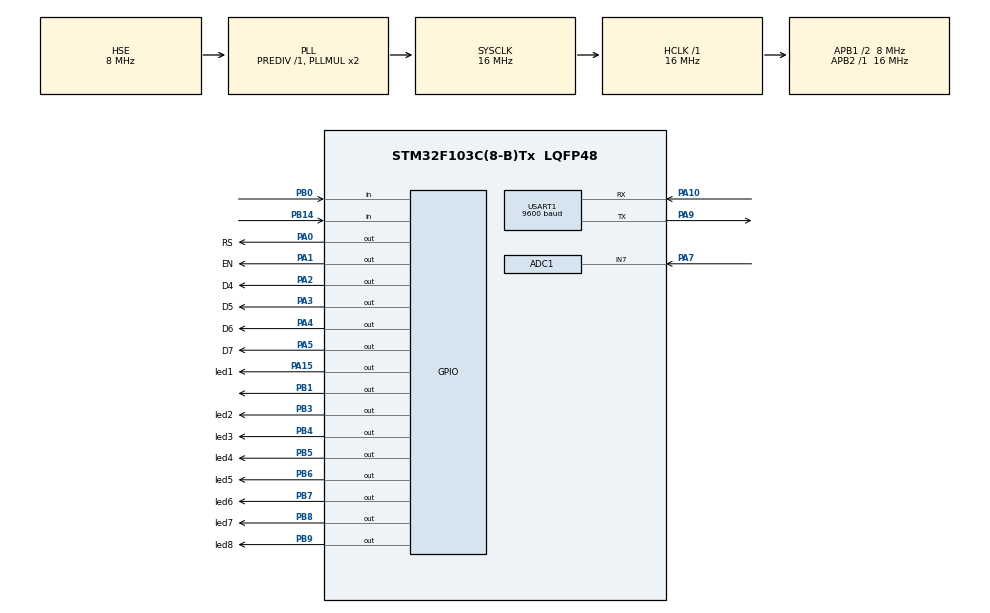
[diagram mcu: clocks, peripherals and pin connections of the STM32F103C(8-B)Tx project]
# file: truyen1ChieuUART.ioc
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ADC1.Channel-0\#ChannelRegularConversion=ADC_CHANNEL_7
ADC1.NbrOfConversionFlag=1
ADC1.Rank-0\#ChannelRegularConversion=1
ADC1.SamplingTime-0\#ChannelRegularConversion=ADC_SAMPLETIME_1CYCLE_5
ADC1.master=1
Dma.ADC1.0.Direction=DMA_PERIPH_TO_MEMORY
Dma.ADC1.0.Instance=DMA1_Channel1
Dma.ADC1.0.MemDataAlignment=DMA_MDATAALIGN_HALFWORD
Dma.ADC1.0.MemInc=DMA_MINC_ENABLE
Dma.ADC1.0.Mode=DMA_NORMAL
Dma.ADC1.0.PeriphDataAlignment=DMA_PDATAALIGN_HALFWORD
Dma.ADC1.0.PeriphInc=DMA_PINC_DISABLE
Dma.ADC1.0.Priority=DMA_PRIORITY_LOW
Dma.Request0=ADC1
FREERTOS.BinarySemaphores01=myBinarySem01,Dynamic,NULL;myBinarySem02,Dynamic,NULL
FREERTOS.Tasks01=myTask01,0,128,StartTask01,Default,NULL,Dynamic,NULL,NULL;myTask02,0,128,StartTask02,Default,NULL,Dynamic,NULL,NULL;myTask03,0,128,StartTask03,Default,NULL,Dynamic,NULL,NULL
Mcu.Family=STM32F1
Mcu.Name=STM32F103C(8-B)Tx
Mcu.Package=LQFP48
NVIC.DMA1_Channel1_IRQn=true\:5\:0\:false\:false\:true\:true\:false\:true
NVIC.PriorityGroup=NVIC_PRIORITYGROUP_4
NVIC.TIM4_IRQn=true\:0\:0\:false\:false\:true\:false\:false\:true
NVIC.TimeBase=TIM4_IRQn
NVIC.TimeBaseIP=TIM4
NVIC.USART1_IRQn=true\:5\:0\:false\:false\:true\:true\:true\:true
PA0-WKUP.GPIO_Label=RS
PA0-WKUP.Signal=GPIO_Output
PA1.GPIO_Label=EN
PA1.Signal=GPIO_Output
PA10.GPIO_Mode=GPIO_MODE_INPUT
PA10.GPIO_PuPd=GPIO_PULLUP
PA10.Mode=Asynchronous
PA10.Signal=USART1_RX
PA13.Mode=Serial_Wire
PA13.Signal=SYS_JTMS-SWDIO
PA14.Mode=Serial_Wire
PA14.Signal=SYS_JTCK-SWCLK
PA15.GPIO_Label=led1
PA15.Signal=GPIO_Output
PA2.GPIO_Label=D4
PA2.Signal=GPIO_Output
PA3.GPIO_Label=D5
PA3.Signal=GPIO_Output
PA4.GPIO_Label=D6
PA4.Signal=GPIO_Output
PA5.GPIO_Label=D7
PA5.Signal=GPIO_Output
PA7.Signal=ADCx_IN7
PA9.Mode=Asynchronous
PA9.Signal=USART1_TX
PB0.Signal=GPIO_Input
PB1.Signal=GPIO_Output
PB14.Signal=GPIO_Input
PB3.GPIO_Label=led2
PB3.Signal=GPIO_Output
PB4.GPIO_Label=led3
PB4.Signal=GPIO_Output
PB5.GPIO_Label=led4
PB5.Signal=GPIO_Output
PB6.GPIO_Label=led5
PB6.Signal=GPIO_Output
PB7.GPIO_Label=led6
PB7.Signal=GPIO_Output
PB8.GPIO_Label=led7
PB8.Signal=GPIO_Output
PB9.GPIO_Label=led8
PB9.Signal=GPIO_Output
PD0-OSC_IN.Mode=HSE-External-Oscillator
PD0-OSC_IN.Signal=RCC_OSC_IN
PD1-OSC_OUT.Mode=HSE-External-Oscillator
PD1-OSC_OUT.Signal=RCC_OSC_OUT
ProjectManager.HeapSize=0x200
ProjectManager.StackSize=0x400
ProjectManager.TargetToolchain=MDK-ARM V5
RCC.AHBFreq_Value=16000000
RCC.APB1CLKDivider=RCC_HCLK_DIV2
RCC.APB1Freq_Value=8000000
RCC.APB1TimFreq_Value=16000000
RCC.APB2Freq_Value=16000000
RCC.APB2TimFreq_Value=16000000
RCC.HCLKFreq_Value=16000000
RCC.PLLSourceVirtual=RCC_PLLSOURCE_HSE
RCC.SYSCLKFreq_VALUE=16000000
RCC.SYSCLKSource=RCC_SYSCLKSOURCE_PLLCLK
RCC.USBFreq_Value=16000000
SH.ADCx_IN7.0=ADC1_IN7,IN7
USART1.BaudRate=9600
USART1.Parity=PARITY_NONE
USART1.VirtualMode=VM_ASYNC
VP_FREERTOS_VS_CMSIS_V1.Mode=CMSIS_V1
VP_SYS_VS_tim4.Mode=TIM4
board=custom

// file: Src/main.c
/* USER CODE BEGIN Header */
/**
  ******************************************************************************
  * @file           : main.c
  * @brief          : Main program body
  ******************************************************************************
  ** This notice applies to any and all portions of this file
  * that are not between comment pairs USER CODE BEGIN and
  * USER CODE END. Other portions of this file, whether
  * inserted by the user or by software development tools
  * are owned by their respective copyright owners.
  *
  * COPYRIGHT(c) 2019 STMicroelectronics
  *
  * Redistribution and use in source and binary forms, with or without modification,
  * are permitted provided that the following conditions are met:
  *   1. Redistributions of source code must retain the above copyright notice,
  *      this list of conditions and the following disclaimer.
  *   2. Redistributions in binary form must reproduce the above copyright notice,
  *      this list of conditions and the following disclaimer in the documentation
  *      and/or other materials provided with the distribution.
  *   3. Neither the name of STMicroelectronics nor the names of its contributors
  *      may be used to endorse or promote products derived from this software
  *      without specific prior written permission.
  *
  * THIS SOFTWARE IS PROVIDED BY THE COPYRIGHT HOLDERS AND CONTRIBUTORS "AS IS"
  * AND ANY EXPRESS OR IMPLIED WARRANTIES, INCLUDING, BUT NOT LIMITED TO, THE
  * IMPLIED WARRANTIES OF MERCHANTABILITY AND FITNESS FOR A PARTICULAR PURPOSE ARE
  * DISCLAIMED. IN NO EVENT SHALL THE COPYRIGHT HOLDER OR CONTRIBUTORS BE LIABLE
  * FOR ANY DIRECT, INDIRECT, INCIDENTAL, SPECIAL, EXEMPLARY, OR CONSEQUENTIAL
  * DAMAGES (INCLUDING, BUT NOT LIMITED TO, PROCUREMENT OF SUBSTITUTE GOODS OR
  * SERVICES; LOSS OF USE, DATA, OR PROFITS; OR BUSINESS INTERRUPTION) HOWEVER
  * CAUSED AND ON ANY THEORY OF LIABILITY, WHETHER IN CONTRACT, STRICT LIABILITY,
  * OR TORT (INCLUDING NEGLIGENCE OR OTHERWISE) ARISING IN ANY WAY OUT OF THE USE
  * OF THIS SOFTWARE, EVEN IF ADVISED OF THE POSSIBILITY OF SUCH DAMAGE.
  *
  ******************************************************************************
  */
/* USER CODE END Header */

#include "main.h"
#include "cmsis_os.h"

/* USER CODE BEGIN Includes */
#include "dwt_stm32_delay.h"
#include "stdlib.h"
#define GPIO_PIN_SET 1
#define GPIO_PIN_RESET 0
#define RS_Port GPIOA
#define EN_Port GPIOA
#define D4_Port GPIOA
#define D5_Port GPIOA
#define D6_Port GPIOA
#define D7_Port GPIOA
uint8_t buffer1[20];
uint8_t rx_index =0 ;
uint8_t rx_data;
uint8_t Rh_byte1, Rh_byte2, Temp_byte1, Temp_byte2;
uint16_t sum;
uint8_t arr[7];
int value = 0;
int valueGui = 0;
uint16_t adc_value,adc_t;
/* USER CODE END Includes */

ADC_HandleTypeDef hadc1;
DMA_HandleTypeDef hdma_adc1;

UART_HandleTypeDef huart1;

osThreadId myTask01Handle;
osThreadId myTask02Handle;
osThreadId myTask03Handle;
osSemaphoreId myBinarySem01Handle;
osSemaphoreId myBinarySem02Handle;

void SystemClock_Config(void);
static void MX_GPIO_Init(void);
static void MX_DMA_Init(void);
static void MX_ADC1_Init(void);
static void MX_USART1_UART_Init(void);
void StartTask01(void const * argument);
void StartTask02(void const * argument);
void StartTask03(void const * argument);

/* USER CODE BEGIN 0 */
void LCD_Enable()
{
HAL_GPIO_WritePin(EN_Port,EN_Pin,1);
HAL_Delay(1);
HAL_GPIO_WritePin(EN_Port,EN_Pin,0);
HAL_Delay(1);
}

void LCD_Send4Bit(unsigned char Data)
{
HAL_GPIO_WritePin(D4_Port,D4_Pin,Data&0x01);
HAL_GPIO_WritePin(D5_Port,D5_Pin,(Data>>1)&0x01);
HAL_GPIO_WritePin(D6_Port,D6_Pin,(Data>>2)&0x01);
HAL_GPIO_WritePin(D7_Port,D7_Pin,(Data>>3)&0x01);
}

void LCD_SendCommand(unsigned char command)
{
	LCD_Send4Bit(command >>4);
	LCD_Enable();
	LCD_Send4Bit(command);
	LCD_Enable();
}

void LCD_Clear()
{
 	LCD_SendCommand(0x01);
  HAL_Delay(1);
}

void LCD_Init()
{
	HAL_GPIO_WritePin(EN_Port,EN_Pin,0);
	HAL_GPIO_WritePin(RS_Port,RS_Pin,0);
	HAL_Delay(20);
	LCD_Send4Bit(0x30);
	LCD_Enable();
	LCD_Enable();
	LCD_Enable();
	LCD_Send4Bit(0x02);
	LCD_Enable();
	LCD_SendCommand(0x28);
	LCD_SendCommand(0x0C);
	LCD_SendCommand(0x06);
	HAL_Delay(2);
	LCD_SendCommand(0x01);
}

void LCD_Gotoxy(unsigned char x, unsigned char y)
{
unsigned char address;
if(y==0)
address=0x80;
else if(y==1)
{
address=0xc0;
}
else if(y==2)
{
address=0x94;
}
else
address=0xd4;
address+=x;
LCD_SendCommand(address);
}

void LCD_PutChar(unsigned char Data)
{
  HAL_GPIO_WritePin(RS_Port,RS_Pin,1);
 	LCD_SendCommand(Data);
  HAL_GPIO_WritePin(RS_Port,RS_Pin,0);

}

void LCD_Puts(char *s)
{
   	while (*s){
      	LCD_PutChar(*s);
     	s++;
   	}
}
GPIO_InitTypeDef GPIO_InitStruct;
void set_gpio_output (void)
{
	/*Configure GPIO pin output: PB14 */
  GPIO_InitStruct.Pin = GPIO_PIN_14;
  GPIO_InitStruct.Mode = GPIO_MODE_OUTPUT_PP;
  GPIO_InitStruct.Speed = GPIO_SPEED_FREQ_LOW;
  HAL_GPIO_Init(GPIOB, &GPIO_InitStruct);

}
void set_gpio_input (void)
{
	/*Configure GPIO pin input: PB14 */
  GPIO_InitStruct.Pin = GPIO_PIN_14;
  GPIO_InitStruct.Mode = GPIO_MODE_INPUT;
  GPIO_InitStruct.Pull = GPIO_NOPULL;
  HAL_GPIO_Init(GPIOB, &GPIO_InitStruct);
}

void DHT11_start (void)
{

	set_gpio_output ();  // set the pin as output
	HAL_GPIO_WritePin (GPIOB, GPIO_PIN_14, 0);   // pull the pin low
	DWT_Delay_us (18000);   // wait for 18ms
	set_gpio_input ();   // set as input
}

void check_response (void)
{
	DWT_Delay_us (40);
	if (!(HAL_GPIO_ReadPin (GPIOB, GPIO_PIN_14)))
	{
		DWT_Delay_us (80);

	}
	while ((HAL_GPIO_ReadPin (GPIOB, GPIO_PIN_14)));   // wait for the pin to go low
}

uint8_t read_data (void)
{
	uint8_t i,j;
	for (j=0;j<8;j++)
	{
		while (!(HAL_GPIO_ReadPin (GPIOB, GPIO_PIN_14)));   // wait for the pin to go high
		DWT_Delay_us (40);   // wait for 40 us
		if ((HAL_GPIO_ReadPin (GPIOB, GPIO_PIN_14)) == 0)   // if the pin is low
		{
			i&= ~(1<<(7-j));   // write 0
		}
		else i|= (1<<(7-j));  // if the pin is high, write 1
		while ((HAL_GPIO_ReadPin (GPIOB, GPIO_PIN_14)));  // wait for the pin to go low
	}
	return i;
}
//
_ARMABI int fputc(int c, FILE * stream)
{
	HAL_UART_Transmit(&huart1,(uint8_t *)&c,1,10);
	return 1;
}
void HAL_UART_RxCpltCallback(UART_HandleTypeDef *huart)
{
		if(huart->Instance == USART1)
			{

						if(rx_index == 0)
							{
									// clear all elements of array
									for(int i = 0; i< 20;i++)
											buffer1[i] = 0;
								}
						if(rx_data != '.')
							{
									buffer1[rx_index++] = rx_data;
								}
						else
							{

									buffer1[rx_index] = '\0';
									rx_index = 0;
									if(buffer1[0] == '1')
										HAL_GPIO_TogglePin(GPIOA,led1_Pin);
									else if(buffer1[0] == '2')
										HAL_GPIO_TogglePin(GPIOB,led2_Pin);
									else if(buffer1[0] == '3')
										HAL_GPIO_TogglePin(GPIOB,led3_Pin);
									else if(buffer1[0] == '4')
										HAL_GPIO_TogglePin(GPIOB,led4_Pin);
									else if(buffer1[0] == '5')
										HAL_GPIO_TogglePin(GPIOB,led5_Pin);
									else if(buffer1[0] == '6')
										HAL_GPIO_TogglePin(GPIOB,led6_Pin);
									else if(buffer1[0] == '7')
										HAL_GPIO_TogglePin(GPIOB,led7_Pin);
									else if(buffer1[0] == '8')
										HAL_GPIO_TogglePin(GPIOB,led8_Pin);

								}
						HAL_UART_Receive_IT(&huart1,&rx_data,1);
			}
}
/* USER CODE END 0 */

int main(void)
{

  /* MCU Configuration--------------------------------------------------------*/

  /* Reset of all peripherals, Initializes the Flash interface and the Systick. */
  HAL_Init();

  /* Configure the system clock */
  SystemClock_Config();

  /* Initialize all configured peripherals */
  MX_GPIO_Init();
  MX_DMA_Init();
  MX_ADC1_Init();
  MX_USART1_UART_Init();
  /* USER CODE BEGIN 2 */
//	__HAL_UART_ENABLE_IT(&huart1, UART_IT_RXNE);
		HAL_UART_Receive_IT(&huart1,&rx_data,1);
		DWT_Delay_Init();
		LCD_Init();
  /* USER CODE END 2 */

  /* Create the semaphores(s) */
  /* definition and creation of myBinarySem01 */
  osSemaphoreDef(myBinarySem01);
  myBinarySem01Handle = osSemaphoreCreate(osSemaphore(myBinarySem01), 1);

  /* definition and creation of myBinarySem02 */
  osSemaphoreDef(myBinarySem02);
  myBinarySem02Handle = osSemaphoreCreate(osSemaphore(myBinarySem02), 1);

  /* Create the thread(s) */
  /* definition and creation of myTask01 */
  osThreadDef(myTask01, StartTask01, osPriorityNormal, 0, 128);
  myTask01Handle = osThreadCreate(osThread(myTask01), NULL);

  /* definition and creation of myTask02 */
  osThreadDef(myTask02, StartTask02, osPriorityNormal, 0, 128);
  myTask02Handle = osThreadCreate(osThread(myTask02), NULL);

  /* definition and creation of myTask03 */
  osThreadDef(myTask03, StartTask03, osPriorityNormal, 0, 128);
  myTask03Handle = osThreadCreate(osThread(myTask03), NULL);

  /* Start scheduler */
  osKernelStart();

  /* We should never get here as control is now taken by the scheduler */

  /* Infinite loop */
  /* USER CODE BEGIN WHILE */

  while (1)
  {
		}
}

void SystemClock_Config(void)
{
  RCC_OscInitTypeDef RCC_OscInitStruct = {0};
  RCC_ClkInitTypeDef RCC_ClkInitStruct = {0};
  RCC_PeriphCLKInitTypeDef PeriphClkInit = {0};

  /** Initializes the CPU, AHB and APB busses clocks
  */
  RCC_OscInitStruct.OscillatorType = RCC_OSCILLATORTYPE_HSE;
  RCC_OscInitStruct.HSEState = RCC_HSE_ON;
  RCC_OscInitStruct.HSEPredivValue = RCC_HSE_PREDIV_DIV1;
  RCC_OscInitStruct.HSIState = RCC_HSI_ON;
  RCC_OscInitStruct.PLL.PLLState = RCC_PLL_ON;
  RCC_OscInitStruct.PLL.PLLSource = RCC_PLLSOURCE_HSE;
  RCC_OscInitStruct.PLL.PLLMUL = RCC_PLL_MUL2;
  if (HAL_RCC_OscConfig(&RCC_OscInitStruct) != HAL_OK)
  {
    Error_Handler();
  }
  /** Initializes the CPU, AHB and APB busses clocks
  */
  RCC_ClkInitStruct.ClockType = RCC_CLOCKTYPE_HCLK|RCC_CLOCKTYPE_SYSCLK
                              |RCC_CLOCKTYPE_PCLK1|RCC_CLOCKTYPE_PCLK2;
  RCC_ClkInitStruct.SYSCLKSource = RCC_SYSCLKSOURCE_PLLCLK;
  RCC_ClkInitStruct.AHBCLKDivider = RCC_SYSCLK_DIV1;
  RCC_ClkInitStruct.APB1CLKDivider = RCC_HCLK_DIV2;
  RCC_ClkInitStruct.APB2CLKDivider = RCC_HCLK_DIV1;

  if (HAL_RCC_ClockConfig(&RCC_ClkInitStruct, FLASH_LATENCY_0) != HAL_OK)
  {
    Error_Handler();
  }
  PeriphClkInit.PeriphClockSelection = RCC_PERIPHCLK_ADC;
  PeriphClkInit.AdcClockSelection = RCC_ADCPCLK2_DIV2;
  if (HAL_RCCEx_PeriphCLKConfig(&PeriphClkInit) != HAL_OK)
  {
    Error_Handler();
  }
}

static void MX_ADC1_Init(void)
{

  /* USER CODE BEGIN ADC1_Init 0 */
	ADC_ChannelConfTypeDef sConfig = {0};

  /* USER CODE END ADC1_Init 0 */

  /** Common config
  */
  hadc1.Instance = ADC1;
  hadc1.Init.ScanConvMode = ADC_SCAN_DISABLE;
  hadc1.Init.ContinuousConvMode = DISABLE;
  hadc1.Init.DiscontinuousConvMode = DISABLE;
  hadc1.Init.ExternalTrigConv = ADC_SOFTWARE_START;
  hadc1.Init.DataAlign = ADC_DATAALIGN_RIGHT;
  hadc1.Init.NbrOfConversion = 1;
  if (HAL_ADC_Init(&hadc1) != HAL_OK)
  {
    Error_Handler();
  }
  /** Configure Regular Channel
  */
  sConfig.Channel = ADC_CHANNEL_7;
  sConfig.Rank = ADC_REGULAR_RANK_1;
  sConfig.SamplingTime = ADC_SAMPLETIME_1CYCLE_5;
  if (HAL_ADC_ConfigChannel(&hadc1, &sConfig) != HAL_OK)
  {
    Error_Handler();
  }

}

static void MX_USART1_UART_Init(void)
{

  huart1.Instance = USART1;
  huart1.Init.BaudRate = 9600;
  huart1.Init.WordLength = UART_WORDLENGTH_8B;
  huart1.Init.StopBits = UART_STOPBITS_1;
  huart1.Init.Parity = UART_PARITY_NONE;
  huart1.Init.Mode = UART_MODE_TX_RX;
  huart1.Init.HwFlowCtl = UART_HWCONTROL_NONE;
  huart1.Init.OverSampling = UART_OVERSAMPLING_16;
  if (HAL_UART_Init(&huart1) != HAL_OK)
  {
    Error_Handler();
  }

}

static void MX_DMA_Init(void)
{
  /* DMA controller clock enable */
  __HAL_RCC_DMA1_CLK_ENABLE();

  /* DMA interrupt init */
  /* DMA1_Channel1_IRQn interrupt configuration */
  HAL_NVIC_SetPriority(DMA1_Channel1_IRQn, 5, 0);
  HAL_NVIC_EnableIRQ(DMA1_Channel1_IRQn);

}

static void MX_GPIO_Init(void)
{
  GPIO_InitTypeDef GPIO_InitStruct = {0};

  /* GPIO Ports Clock Enable */
  __HAL_RCC_GPIOD_CLK_ENABLE();
  __HAL_RCC_GPIOA_CLK_ENABLE();
  __HAL_RCC_GPIOB_CLK_ENABLE();

  /*Configure GPIO pin Output Level */
  HAL_GPIO_WritePin(GPIOA, RS_Pin|EN_Pin|D4_Pin|D5_Pin
                          |D6_Pin|D7_Pin|led1_Pin, GPIO_PIN_RESET);

  /*Configure GPIO pin Output Level */
  HAL_GPIO_WritePin(GPIOB, GPIO_PIN_1|led2_Pin|led3_Pin|led4_Pin
                          |led5_Pin|led6_Pin|led7_Pin|led8_Pin, GPIO_PIN_RESET);

  /*Configure GPIO pins : RS_Pin EN_Pin D4_Pin D5_Pin
                           D6_Pin D7_Pin led1_Pin */
  GPIO_InitStruct.Pin = RS_Pin|EN_Pin|D4_Pin|D5_Pin
                          |D6_Pin|D7_Pin|led1_Pin;
  GPIO_InitStruct.Mode = GPIO_MODE_OUTPUT_PP;
  GPIO_InitStruct.Pull = GPIO_NOPULL;
  GPIO_InitStruct.Speed = GPIO_SPEED_FREQ_LOW;
  HAL_GPIO_Init(GPIOA, &GPIO_InitStruct);

  /*Configure GPIO pins : PB0 PB14 */
  GPIO_InitStruct.Pin = GPIO_PIN_0|GPIO_PIN_14;
  GPIO_InitStruct.Mode = GPIO_MODE_INPUT;
  GPIO_InitStruct.Pull = GPIO_NOPULL;
  HAL_GPIO_Init(GPIOB, &GPIO_InitStruct);

  /*Configure GPIO pins : PB1 led2_Pin led3_Pin led4_Pin
                           led5_Pin led6_Pin led7_Pin led8_Pin */
  GPIO_InitStruct.Pin = GPIO_PIN_1|led2_Pin|led3_Pin|led4_Pin
                          |led5_Pin|led6_Pin|led7_Pin|led8_Pin;
  GPIO_InitStruct.Mode = GPIO_MODE_OUTPUT_PP;
  GPIO_InitStruct.Pull = GPIO_NOPULL;
  GPIO_InitStruct.Speed = GPIO_SPEED_FREQ_LOW;
  HAL_GPIO_Init(GPIOB, &GPIO_InitStruct);

}

void StartTask01(void const * argument)
{

  /* USER CODE BEGIN 5 */
  /* Infinite loop */
  for(;;)
  {
    osDelay(1);
		/*---*/
		DHT11_start ();
		check_response ();
		Rh_byte1 = read_data ();
		Rh_byte2 = read_data ();
		Temp_byte1 = read_data ();
		Temp_byte2 = read_data ();

		LCD_Gotoxy(0,0);
		LCD_Puts("TEMP: ");
		LCD_PutChar((Temp_byte1/10)+48);
		LCD_PutChar((Temp_byte1%10)+48);

		LCD_PutChar('.');
		LCD_PutChar(Temp_byte2+48);
		LCD_PutChar(0XDF);
		LCD_Puts ("C");

		LCD_Gotoxy(0,1);
		LCD_Puts("RH  : ");
		LCD_PutChar((Rh_byte1/10)+48);
		LCD_PutChar((Rh_byte1%10)+48);

		LCD_PutChar('%');
		osDelay(1000);
		/*---*/

		osSemaphoreRelease(myBinarySem01Handle);
  }
  /* USER CODE END 5 */
}

void StartTask02(void const * argument)
{
  /* USER CODE BEGIN StartTask02 */
  /* Infinite loop */
  for(;;)
  {
		osSemaphoreWait(myBinarySem01Handle, 1);
		arr[0] = (Temp_byte1/10)+48;
		arr[1] = (Temp_byte1%10)+48;
		arr[2] = Temp_byte2+48;
		arr[3] = (Rh_byte1/10)+48;
		arr[4] = (Rh_byte1%10)+48;
		arr[5] = (Rh_byte2+48);
		arr[6] = '\0';
		printf("%s",arr);
    osDelay(1);
		osSemaphoreRelease(myBinarySem02Handle);
  }
  /* USER CODE END StartTask02 */
}

void StartTask03(void const * argument)
{
  /* USER CODE BEGIN StartTask03 */
  /* Infinite loop */
  for(;;)
  {
		osSemaphoreWait(myBinarySem02Handle, 1);
		HAL_ADC_Start_DMA(&hadc1,(uint32_t*)&adc_value,1);
		HAL_ADC_Stop_DMA(&hadc1);
		adc_t =adc_value/400;
		if (adc_t>=9)
        {
            HAL_GPIO_WritePin(GPIOB,GPIO_PIN_1,GPIO_PIN_RESET);
        }
		else
			{
				if(HAL_GPIO_ReadPin(GPIOB,GPIO_PIN_0))
				{
							HAL_Delay(adc_t);
							HAL_GPIO_WritePin(GPIOB,GPIO_PIN_1,GPIO_PIN_RESET);
							HAL_Delay(1);
							HAL_GPIO_WritePin(GPIOB,GPIO_PIN_1,GPIO_PIN_SET);

				}
			}
  }
  /* USER CODE END StartTask03 */
}

void HAL_TIM_PeriodElapsedCallback(TIM_HandleTypeDef *htim)
{
  if (htim->Instance == TIM4) {
    HAL_IncTick();
  }
}

void Error_Handler(void)
{
}

/************************ (C) COPYRIGHT STMicroelectronics *****END OF FILE****/
